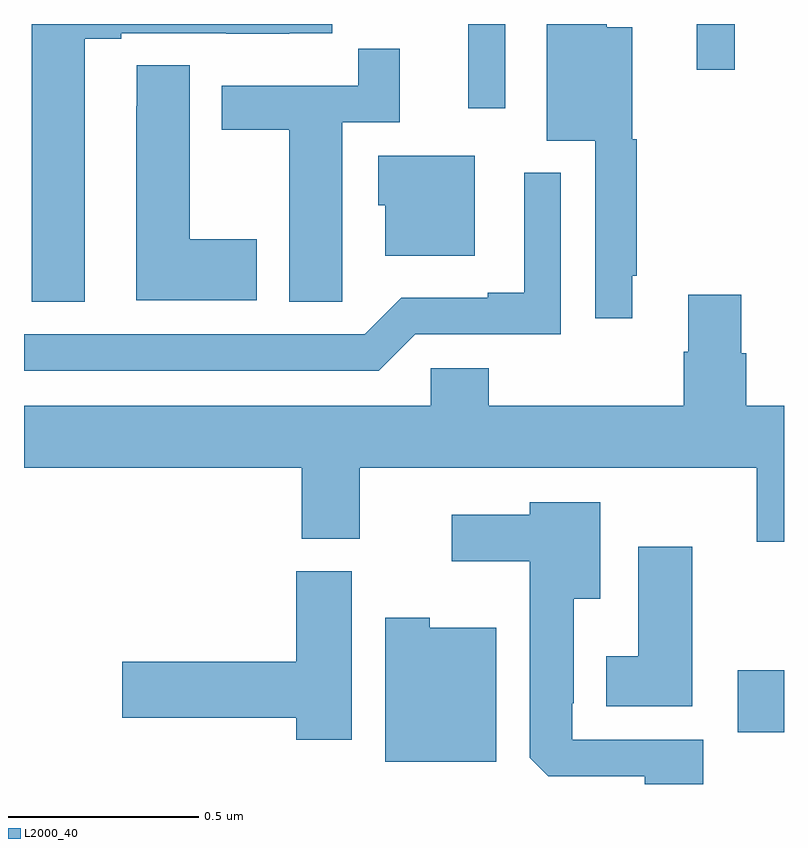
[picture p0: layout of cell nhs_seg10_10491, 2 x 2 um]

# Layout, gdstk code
import gdstk
lib = gdstk.Library(unit=1e-6, precision=1e-09)
def R(c, l, rs):  # rectangles x0, y0, x1, y1
    for r in rs: c.add(gdstk.rectangle(r[:2], r[2:], *l))
def P(c, l, *ps):  # polygons
    for p in ps: c.add(gdstk.Polygon(p, *l))
L2000_40 = (2000, 40)

nhs_seg10_10491 = lib.new_cell('nhs_seg10_10491')
R(nhs_seg10_10491, L2000_40, [(244.878,1283.636,245,1283.799), (244.169,1285.278,244.266,1285.5), (244.771,1285.38,244.87,1285.5)])
P(nhs_seg10_10491, L2000_40, [(243.16,1285.461),(243.256,1285.461),(243.256,1285.476),(243.532,1285.476),(243.532,1285.475),(243.698,1285.475),(243.698,1285.476),(243.811,1285.476),(243.811,1285.5),(243.02,1285.5),(243.02,1284.769),(243.16,1284.769)],
  [(244.6,1284.838),(244.612,1284.838),(244.612,1285.197),(244.6,1285.197),(244.6,1285.492),(244.534,1285.492),(244.534,1285.5),(244.376,1285.5),(244.376,1285.193),(244.503,1285.193),(244.503,1284.726),(244.6,1284.726)],
  [(243.837,1284.88),(243.838,1284.88),(243.838,1285.242),(243.989,1285.242),(243.989,1285.435),(243.88,1285.435),(243.88,1285.338),(243.521,1285.338),(243.521,1285.222),(243.698,1285.222),(243.698,1284.769),(243.837,1284.769)],
  [(243.613,1284.933),(243.436,1284.933),(243.436,1285.391),(243.297,1285.391),(243.297,1285.283),(243.296,1285.283),(243.296,1284.773),(243.613,1284.773)],
  [(244.186,1285.153),(243.932,1285.153),(243.932,1285.023),(243.95,1285.023),(243.95,1284.89),(244.186,1284.89)],
  [(244.029,1284.684),(244.413,1284.684),(244.413,1285.108),(244.316,1285.108),(244.316,1284.793),(244.22,1284.793),(244.22,1284.78),(243.993,1284.78),(243.897,1284.684),(243,1284.684),(243,1284.588),(243.933,1284.588)],
  [(245,1284.496),(244.901,1284.496),(244.901,1284.633),(244.888,1284.633),(244.888,1284.787),(244.748,1284.787),(244.748,1284.638),(244.736,1284.638),(244.736,1284.496),(244.223,1284.496),(244.223,1284.594),(244.071,1284.594),(244.071,1284.496),(243,1284.496),(243,1284.332),(243.731,1284.332),(243.731,1284.145),(243.883,1284.145),(243.883,1284.332),(244.928,1284.332),(244.928,1284.138),(245,1284.138)],
  [(244.787,1283.616),(244.443,1283.616),(244.443,1283.713),(244.447,1283.713),(244.447,1283.987),(244.516,1283.987),(244.516,1284.241),(244.331,1284.241),(244.331,1284.208),(244.125,1284.208),(244.125,1284.086),(244.331,1284.086),(244.331,1283.569),(244.38,1283.52),(244.634,1283.52),(244.634,1283.5),(244.787,1283.5)],
  [(244.759,1284.124),(244.616,1284.124),(244.616,1283.836),(244.532,1283.836),(244.532,1283.705),(244.759,1283.705)],
  [(243.862,1284.06),(243.716,1284.06),(243.716,1283.822),(243.258,1283.822),(243.258,1283.675),(243.716,1283.675),(243.716,1283.616),(243.862,1283.616)],
  [(244.243,1283.911),(244.068,1283.911),(244.068,1283.938),(243.95,1283.938),(243.95,1283.558),(244.243,1283.558)])

lib.write_gds('nhs_seg10_10491.gds')
